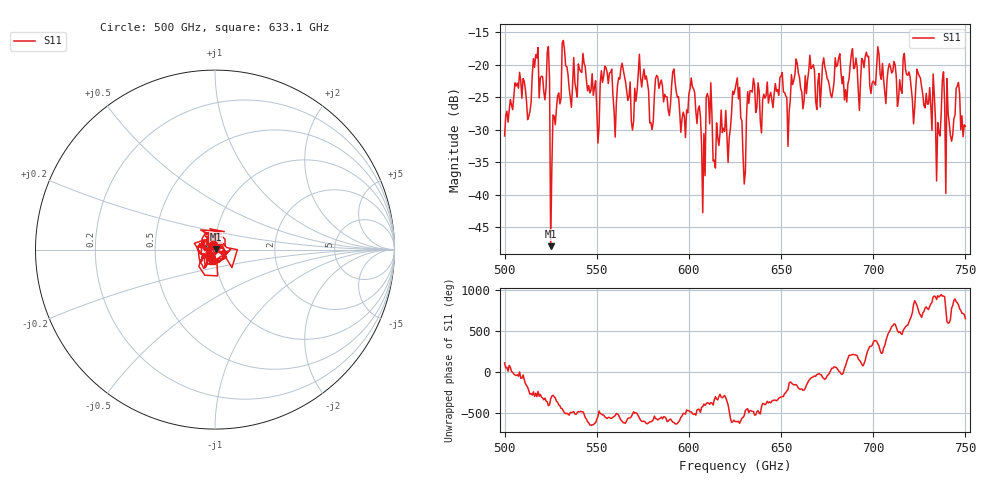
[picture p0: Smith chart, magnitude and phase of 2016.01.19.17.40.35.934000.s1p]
!Created with skrf (http://scikit-rf.org).
# GHz S RI R 50.0
!freq ReS11 ImS11
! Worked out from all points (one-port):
!   401 points, 500 GHz to 750 GHz, reference 50 ohm
!   lowest |S11| = -48.0 dB at 525 GHz (marker M1), VSWR 1.01, Z = 50.3 + j0.237 ohm
!   |S11| at or under -10 dB: start of sweep to end of sweep
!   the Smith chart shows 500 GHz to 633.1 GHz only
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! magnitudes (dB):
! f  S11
! 500 GHz  -31.0
! 506.9 GHz  -22.8
! 513.1 GHz  -28.0
! 516.9 GHz  -18.5
! 523.1 GHz  -18.1
! 525 GHz  -48.0
! 526.2 GHz  -27.8
! 531.2 GHz  -16.7
! 550 GHz  -26.7
! 562.5 GHz  -22.2
! 570 GHz  -28.7
! 574.4 GHz  -23.4
! 580 GHz  -30.0
! 583.1 GHz  -21.9
! 593.8 GHz  -25.1
! 601.9 GHz  -23.4
! 607.5 GHz  -42.8
! 610.6 GHz  -25.1
! 614.4 GHz  -35.9
! 625 GHz  -23.8
! 629.4 GHz  -34.2
! 634.4 GHz  -24.2
! 656.2 GHz  -23.1
! 687.5 GHz  -20.0
! 718.8 GHz  -21.6
! 735 GHz  -28.9
! 745.6 GHz  -23.3
! 750 GHz  -29.5
